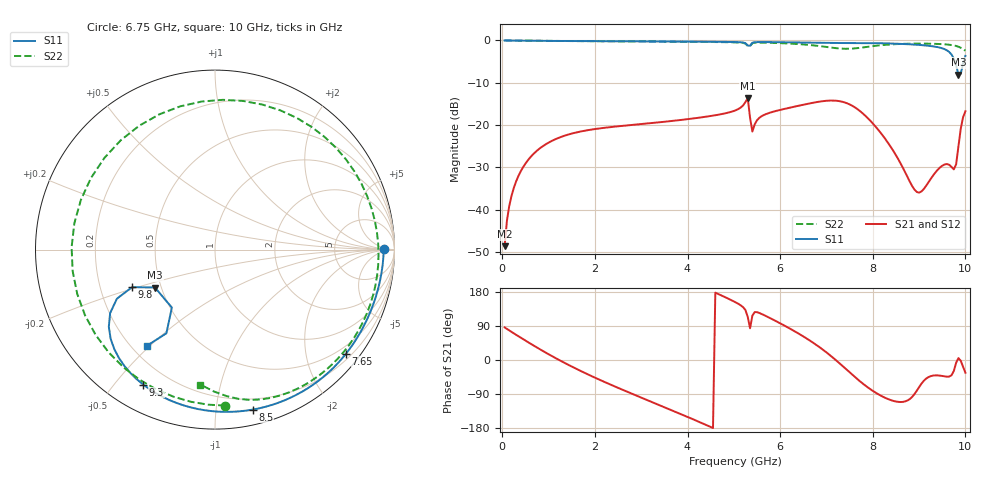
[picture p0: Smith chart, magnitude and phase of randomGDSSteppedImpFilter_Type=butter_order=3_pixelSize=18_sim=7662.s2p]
! freq	dB(S11)	phase(S11)	dB(S12)	phase(S12)
!  dB(S21)	phase(S21)	dB(S22)	phase(S22)
!S-par simulation data
#  GHz  S  DB  R 50
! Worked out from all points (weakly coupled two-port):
!   200 points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, 50 MHz to 10 GHz, reference 50 ohm
!   highest |S21| = -13.65 dB at 5.3 GHz (marker M1); lowest = -48.6 dB at 50 MHz (marker M2)
!   lowest |S11| = -8.1 dB at 9.85 GHz (marker M3), VSWR 2.31, Z = 23.1 - j11.6 ohm
!   |S11| at or under -10 dB: nowhere
!   |S22| runs from -2.4 to 0.0 dB; largest |S21 - S12| = 0
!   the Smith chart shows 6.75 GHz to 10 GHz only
!   S11 on the Smith chart (normalised r, x): 6.75 GHz: 32, +3; 7.65 GHz: 0.32, -2.83; 8.5 GHz: 0.11, -1.26; 9.3 GHz: 0.11, -0.59; 9.8 GHz: 0.34, -0.19; 10 GHz: 0.26, -0.49
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0.05  -0.00 -4.1  -48.63 86.0  -48.63 86.0  -0.00 -3.8
0.2  -0.02 -16.4  -36.69 74.0  -36.69 74.0  -0.02 -14.9
0.5  -0.06 -40.3  -29.10 51.2  -29.10 51.2  -0.06 -36.9
1.75  -0.16 -125.4  -21.40 -32.3  -21.40 -32.3  -0.17 -120.5
2.6  -0.19 -170.7  -20.18 -78.7  -20.18 -78.7  -0.22 -170.0
3.4  -0.23 151.4  -19.34 -119.4  -19.34 -119.4  -0.26 145.6
4.25  -0.28 112.7  -18.26 -163.3  -18.26 -163.3  -0.33 97.5
5.05  -0.38 75.7  -16.46 151.4  -16.46 151.4  -0.46 48.8
5.3  -1.18 62.2  -13.65 113.8  -13.65 113.8  -1.31 30.7
5.4  -0.55 64.5  -21.54 117.0  -21.54 117.0  -0.66 31.2
6.05  -0.42 31.8  -16.29 93.6  -16.29 93.6  -0.66 -18.7
6.7  -0.53 2.5  -14.75 46.6  -14.75 46.6  -1.14 -80.3
6.75  -0.54 0.3  -14.65 42.5  -14.65 42.5  -1.20 -86.2
7.25  -0.61 -21.3  -14.30 -5.3  -14.30 -5.3  -1.87 -162.2
7.65  -0.61 -38.5  -16.09 -48.7  -16.09 -48.7  -1.84 121.4
8.35  -0.71 -69.8  -24.53 -104.1  -24.53 -104.1  -0.96 24.2
8.5  -0.76 -76.7  -27.11 -109.6  -27.11 -109.6  -0.87 10.4
8.95  -1.01 -98.6  -35.81 -81.1  -35.81 -81.1  -0.75 -22.9
9.3  -1.39 -118.1  -31.96 -41.2  -31.96 -41.2  -0.78 -44.4
9.8  -5.89 -155.6  -29.27 -7.3  -29.27 -7.3  -1.31 -76.8
9.85  -8.06 -147.7  -25.06 5.0  -25.06 5.0  -1.49 -80.9
10  -3.65 -125.3  -16.74 -33.7  -16.74 -33.7  -2.42 -96.1
